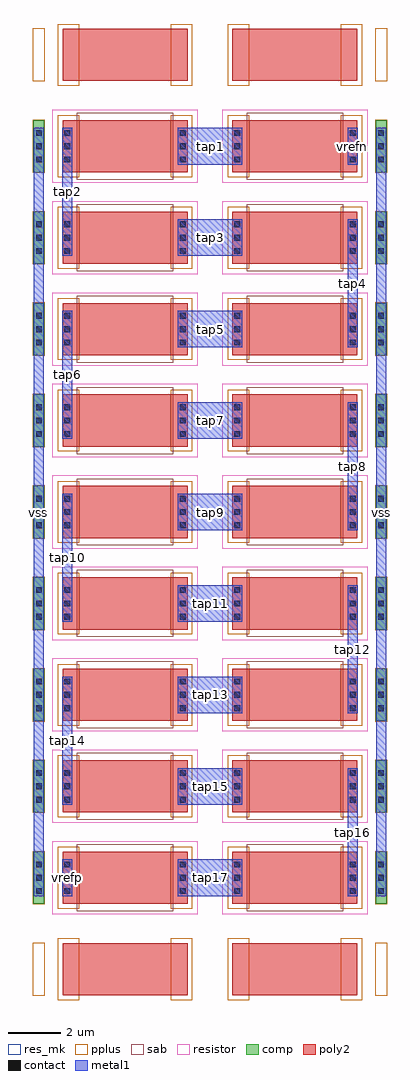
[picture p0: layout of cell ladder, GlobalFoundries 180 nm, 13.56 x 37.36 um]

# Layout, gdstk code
import gdstk
lib = gdstk.Library(unit=1e-6, precision=1e-09)
def R(c, l, rs):  # rectangles x0, y0, x1, y1
    for r in rs: c.add(gdstk.rectangle(r[:2], r[2:], *l))
def A(c, l, x, y, w, h, nx, ny, dx, dy):  # array of equal rectangles
    R(c, l, [(x+i*dx, y+j*dy, x+i*dx+w, y+j*dy+h) for i in range(nx) for j in range(ny)])
comp = (22, 0)
poly2 = (30, 0)
pplus = (31, 0)
contact = (33, 0)
metal1 = (34, 0)
sab = (49, 0)
resistor = (62, 0)
res_mk = (110, 5)

ladder = lib.new_cell('ladder')
A(ladder, comp, -1.76, 0, 0.42, 2, 1, 9, 0, 3.5)
A(ladder, comp, 11.34, 0, 0.42, 2, 1, 9, 0, 3.5)
A(ladder, poly2, -0.64, -3.5, 4.78, 2, 1, 11, 0, 3.5)
A(ladder, poly2, 5.86, -3.5, 4.78, 2, 1, 11, 0, 3.5)
A(ladder, pplus, -0.82, -3.68, 0.82, 2.36, 1, 11, 0, 3.5)
A(ladder, pplus, 3.5, -3.68, 0.82, 2.36, 1, 11, 0, 3.5)
A(ladder, pplus, 5.68, -3.68, 0.82, 2.36, 1, 11, 0, 3.5)
A(ladder, pplus, 10, -3.68, 0.82, 2.36, 1, 11, 0, 3.5)
A(ladder, pplus, -1.78, -3.52, 0.46, 2.04, 1, 11, 0, 3.5)
A(ladder, pplus, 11.32, -3.52, 0.46, 2.04, 1, 11, 0, 3.5)
A(ladder, contact, -1.66, 0.38, 0.22, 0.22, 1, 3, 0, 0.51)
A(ladder, contact, -0.57, 0.38, 0.22, 0.22, 1, 3, 0, 0.51)
A(ladder, contact, 3.85, 0.38, 0.22, 0.22, 1, 3, 0, 0.51)
A(ladder, contact, 5.93, 0.38, 0.22, 0.22, 1, 3, 0, 0.51)
A(ladder, contact, 10.35, 0.38, 0.22, 0.22, 1, 3, 0, 0.51)
A(ladder, contact, 11.44, 0.38, 0.22, 0.22, 1, 3, 0, 0.51)
A(ladder, contact, -1.66, 3.88, 0.22, 0.22, 1, 3, 0, 0.51)
A(ladder, contact, -0.57, 3.88, 0.22, 0.22, 1, 3, 0, 0.51)
A(ladder, contact, 3.85, 3.88, 0.22, 0.22, 1, 3, 0, 0.51)
A(ladder, contact, 5.93, 3.88, 0.22, 0.22, 1, 3, 0, 0.51)
A(ladder, contact, 10.35, 3.88, 0.22, 0.22, 1, 3, 0, 0.51)
A(ladder, contact, 11.44, 3.88, 0.22, 0.22, 1, 3, 0, 0.51)
A(ladder, contact, -1.66, 7.38, 0.22, 0.22, 1, 3, 0, 0.51)
A(ladder, contact, -0.57, 7.38, 0.22, 0.22, 1, 3, 0, 0.51)
A(ladder, contact, 3.85, 7.38, 0.22, 0.22, 1, 3, 0, 0.51)
A(ladder, contact, 5.93, 7.38, 0.22, 0.22, 1, 3, 0, 0.51)
A(ladder, contact, 10.35, 7.38, 0.22, 0.22, 1, 3, 0, 0.51)
A(ladder, contact, 11.44, 7.38, 0.22, 0.22, 1, 3, 0, 0.51)
A(ladder, contact, -1.66, 10.88, 0.22, 0.22, 1, 3, 0, 0.51)
A(ladder, contact, -0.57, 10.88, 0.22, 0.22, 1, 3, 0, 0.51)
A(ladder, contact, 3.85, 10.88, 0.22, 0.22, 1, 3, 0, 0.51)
A(ladder, contact, 5.93, 10.88, 0.22, 0.22, 1, 3, 0, 0.51)
A(ladder, contact, 10.35, 10.88, 0.22, 0.22, 1, 3, 0, 0.51)
A(ladder, contact, 11.44, 10.88, 0.22, 0.22, 1, 3, 0, 0.51)
A(ladder, contact, -1.66, 14.38, 0.22, 0.22, 1, 3, 0, 0.51)
A(ladder, contact, -0.57, 14.38, 0.22, 0.22, 1, 3, 0, 0.51)
A(ladder, contact, 3.85, 14.38, 0.22, 0.22, 1, 3, 0, 0.51)
A(ladder, contact, 5.93, 14.38, 0.22, 0.22, 1, 3, 0, 0.51)
A(ladder, contact, 10.35, 14.38, 0.22, 0.22, 1, 3, 0, 0.51)
A(ladder, contact, 11.44, 14.38, 0.22, 0.22, 1, 3, 0, 0.51)
A(ladder, contact, -1.66, 17.88, 0.22, 0.22, 1, 3, 0, 0.51)
A(ladder, contact, -0.57, 17.88, 0.22, 0.22, 1, 3, 0, 0.51)
A(ladder, contact, 3.85, 17.88, 0.22, 0.22, 1, 3, 0, 0.51)
A(ladder, contact, 5.93, 17.88, 0.22, 0.22, 1, 3, 0, 0.51)
A(ladder, contact, 10.35, 17.88, 0.22, 0.22, 1, 3, 0, 0.51)
A(ladder, contact, 11.44, 17.88, 0.22, 0.22, 1, 3, 0, 0.51)
A(ladder, contact, -1.66, 21.38, 0.22, 0.22, 1, 3, 0, 0.51)
A(ladder, contact, -0.57, 21.38, 0.22, 0.22, 1, 3, 0, 0.51)
A(ladder, contact, 3.85, 21.38, 0.22, 0.22, 1, 3, 0, 0.51)
A(ladder, contact, 5.93, 21.38, 0.22, 0.22, 1, 3, 0, 0.51)
A(ladder, contact, 10.35, 21.38, 0.22, 0.22, 1, 3, 0, 0.51)
A(ladder, contact, 11.44, 21.38, 0.22, 0.22, 1, 3, 0, 0.51)
A(ladder, contact, -1.66, 24.88, 0.22, 0.22, 1, 3, 0, 0.51)
A(ladder, contact, -0.57, 24.88, 0.22, 0.22, 1, 3, 0, 0.51)
A(ladder, contact, 3.85, 24.88, 0.22, 0.22, 1, 3, 0, 0.51)
A(ladder, contact, 5.93, 24.88, 0.22, 0.22, 1, 3, 0, 0.51)
A(ladder, contact, 10.35, 24.88, 0.22, 0.22, 1, 3, 0, 0.51)
A(ladder, contact, 11.44, 24.88, 0.22, 0.22, 1, 3, 0, 0.51)
A(ladder, contact, -1.66, 28.38, 0.22, 0.22, 1, 3, 0, 0.51)
A(ladder, contact, -0.57, 28.38, 0.22, 0.22, 1, 3, 0, 0.51)
A(ladder, contact, 3.85, 28.38, 0.22, 0.22, 1, 3, 0, 0.51)
A(ladder, contact, 5.93, 28.38, 0.22, 0.22, 1, 3, 0, 0.51)
A(ladder, contact, 10.35, 28.38, 0.22, 0.22, 1, 3, 0, 0.51)
A(ladder, contact, 11.44, 28.38, 0.22, 0.22, 1, 3, 0, 0.51)
A(ladder, metal1, -1.74, 0.3, 0.38, 1.4, 1, 9, 0, 3.5)
A(ladder, metal1, -0.65, 0.3, 0.38, 1.4, 1, 9, 0, 3.5)
A(ladder, metal1, 3.77, 0.3, 2.46, 1.4, 1, 9, 0, 3.5)
A(ladder, metal1, 3.77, 0.3, 0.38, 1.4, 1, 9, 0, 3.5)
A(ladder, metal1, 5.85, 0.3, 0.38, 1.4, 1, 9, 0, 3.5)
A(ladder, metal1, 10.27, 0.3, 0.38, 4.9, 1, 4, 0, 7)
A(ladder, metal1, 10.27, 0.3, 0.38, 1.4, 1, 9, 0, 3.5)
A(ladder, metal1, 11.36, 0.3, 0.38, 1.4, 1, 9, 0, 3.5)
A(ladder, metal1, -0.65, 3.8, 0.38, 4.9, 1, 4, 0, 7)
R(ladder, metal1, [(-1.74,0.3,-1.36,29.7), (11.36,0.3,11.74,29.7)])
A(ladder, sab, -0.1, -0.28, 3.7, 2.56, 1, 9, 0, 3.5)
A(ladder, sab, 6.4, -0.28, 3.7, 2.56, 1, 9, 0, 3.5)
A(ladder, resistor, -1.04, -0.4, 5.58, 2.8, 1, 9, 0, 3.5)
A(ladder, resistor, 5.46, -0.4, 5.58, 2.8, 1, 9, 0, 3.5)
A(ladder, res_mk, 0, 0, 3.5, 2, 1, 9, 0, 3.5)
A(ladder, res_mk, 6.5, 0, 3.5, 2, 1, 9, 0, 3.5)
ladder.add(gdstk.Label('tap17', (5,1), layer=34, texttype=10))
ladder.add(gdstk.Label('tap16', (10.46,2.75), layer=34, texttype=10))
ladder.add(gdstk.Label('tap15', (5,4.5), layer=34, texttype=10))
ladder.add(gdstk.Label('tap14', (-0.46,6.25), layer=34, texttype=10))
ladder.add(gdstk.Label('tap13', (5,8), layer=34, texttype=10))
ladder.add(gdstk.Label('tap12', (10.46,9.75), layer=34, texttype=10))
ladder.add(gdstk.Label('tap11', (5,11.5), layer=34, texttype=10))
ladder.add(gdstk.Label('tap10', (-0.46,13.25), layer=34, texttype=10))
ladder.add(gdstk.Label('tap9', (5,15), layer=34, texttype=10))
ladder.add(gdstk.Label('tap8', (10.46,16.75), layer=34, texttype=10))
ladder.add(gdstk.Label('tap7', (5,18.5), layer=34, texttype=10))
ladder.add(gdstk.Label('tap6', (-0.46,20.25), layer=34, texttype=10))
ladder.add(gdstk.Label('tap5', (5,22), layer=34, texttype=10))
ladder.add(gdstk.Label('tap4', (10.46,23.75), layer=34, texttype=10))
ladder.add(gdstk.Label('tap3', (5,25.5), layer=34, texttype=10))
ladder.add(gdstk.Label('tap2', (-0.46,27.25), layer=34, texttype=10))
ladder.add(gdstk.Label('tap1', (5,29), layer=34, texttype=10))
ladder.add(gdstk.Label('vrefp', (-0.46,1), layer=34, texttype=10))
ladder.add(gdstk.Label('vrefn', (10.46,29), layer=34, texttype=10))
ladder.add(gdstk.Label('vss', (-1.55,15), layer=34, texttype=10))
ladder.add(gdstk.Label('vss', (11.55,15), layer=34, texttype=10))

lib.write_gds('ladder.gds')
